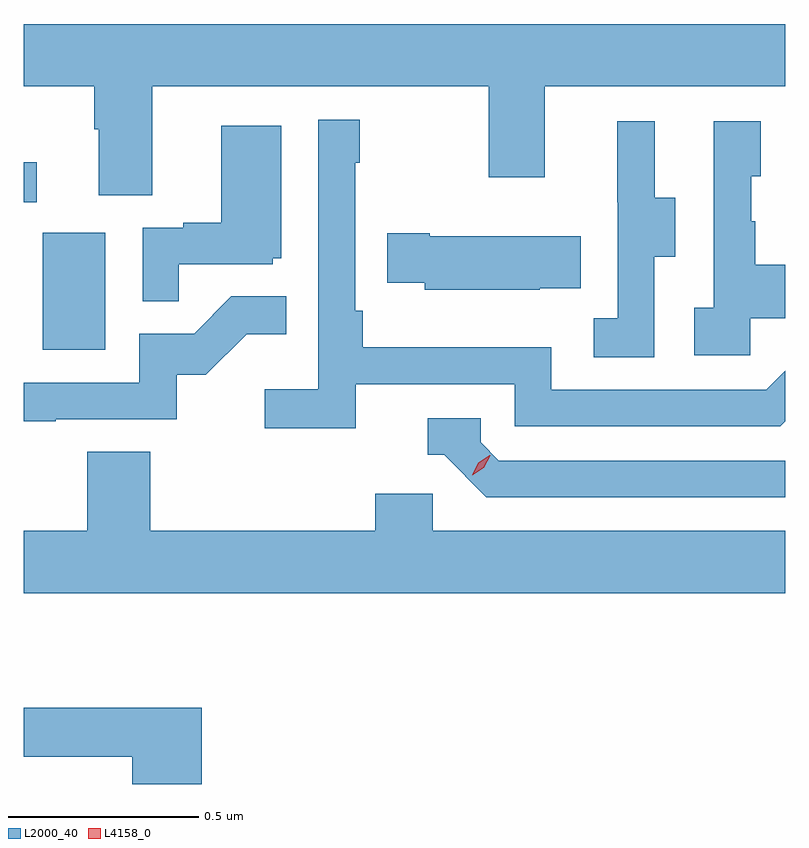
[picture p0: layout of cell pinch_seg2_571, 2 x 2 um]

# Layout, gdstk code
import gdstk
lib = gdstk.Library(unit=1e-6, precision=1e-09)
def R(c, l, rs):  # rectangles x0, y0, x1, y1
    for r in rs: c.add(gdstk.rectangle(r[:2], r[2:], *l))
def P(c, l, *ps):  # polygons
    for p in ps: c.add(gdstk.Polygon(p, *l))
L2000_40 = (2000, 40)
L4158_0 = (4158, 0)

pinch_seg2_571 = lib.new_cell('pinch_seg2_571')
R(pinch_seg2_571, L2000_40, [(1084.178,621.636,1084.342,621.943), (1084.128,622.023,1084.162,622.129)])
P(pinch_seg2_571, L2000_40, [(1084.465,622.328),(1085.35,622.328),(1085.35,622.089),(1085.497,622.089),(1085.497,622.328),(1086.128,622.328),(1086.128,622.492),(1084.128,622.492),(1084.128,622.328),(1084.313,622.328),(1084.313,622.216),(1084.325,622.216),(1084.325,622.042),(1084.465,622.042)],
  [(1085,621.546),(1085.418,621.546),(1085.418,621.435),(1086.115,621.435),(1086.128,621.448),(1086.128,621.581),(1086.078,621.531),(1085.514,621.531),(1085.514,621.643),(1085.018,621.643),(1085.018,621.739),(1084.998,621.739),(1084.998,622.127),(1085.011,622.127),(1085.011,622.24),(1084.902,622.24),(1084.902,621.532),(1084.761,621.532),(1084.761,621.43),(1085,621.43)],
  [(1085.784,621.88),(1085.839,621.88),(1085.839,622.035),(1085.785,622.035),(1085.785,622.237),(1085.687,622.237),(1085.687,622.023),(1085.688,622.023),(1085.688,621.719),(1085.625,621.719),(1085.625,621.616),(1085.784,621.616)],
  [(1086.036,621.719),(1086.128,621.719),(1086.128,621.859),(1086.049,621.859),(1086.049,621.974),(1086.039,621.974),(1086.039,622.092),(1086.064,622.092),(1086.064,622.237),(1085.94,622.237),(1085.94,621.746),(1085.889,621.746),(1085.889,621.621),(1086.036,621.621)],
  [(1084.535,621.861),(1084.782,621.861),(1084.782,621.876),(1084.804,621.876),(1084.804,622.225),(1084.646,622.225),(1084.646,621.97),(1084.547,621.97),(1084.547,621.957),(1084.44,621.957),(1084.44,621.763),(1084.535,621.763)],
  [(1085.483,621.797),(1085.591,621.797),(1085.591,621.934),(1085.194,621.934),(1085.194,621.942),(1085.083,621.942),(1085.083,621.812),(1085.181,621.812),(1085.181,621.794),(1085.483,621.794)],
  [(1084.211,621.453),(1084.53,621.453),(1084.53,621.57),(1084.606,621.57),(1084.713,621.677),(1084.817,621.677),(1084.817,621.776),(1084.673,621.776),(1084.575,621.678),(1084.431,621.678),(1084.431,621.549),(1084.128,621.549),(1084.128,621.448),(1084.211,621.448)],
  [(1086.128,621.345),(1085.376,621.345),(1085.328,621.393),(1085.328,621.456),(1085.189,621.456),(1085.189,621.36),(1085.232,621.36),(1085.343,621.249),(1086.128,621.249)],
  [(1086.128,621.16),(1085.202,621.16),(1085.202,621.258),(1085.051,621.258),(1085.051,621.16),(1084.46,621.16),(1084.46,621.368),(1084.295,621.368),(1084.295,621.16),(1084.128,621.16),(1084.128,620.996),(1086.128,620.996)],
  [(1084.595,620.695),(1084.128,620.695),(1084.128,620.566),(1084.412,620.566),(1084.412,620.495),(1084.595,620.495)])
P(pinch_seg2_571, L4158_0, [(1085.306,621.306),(1085.306,621.307),(1085.322,621.339),(1085.352,621.359),(1085.353,621.359),(1085.353,621.358),(1085.336,621.326),(1085.306,621.306)])

lib.write_gds('pinch_seg2_571.gds')
